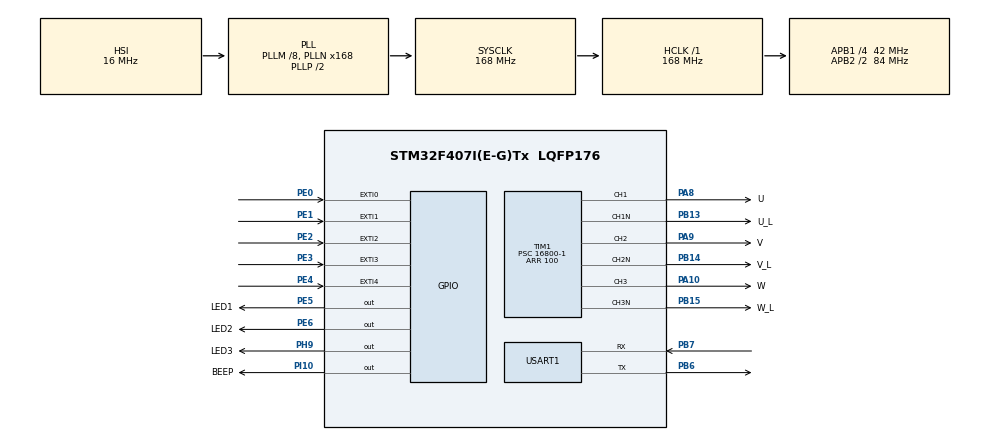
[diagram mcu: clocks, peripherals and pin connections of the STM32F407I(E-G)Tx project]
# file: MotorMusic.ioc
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Dma.Request0=USART1_RX
Dma.Request1=USART1_TX
Dma.USART1_RX.0.Direction=DMA_PERIPH_TO_MEMORY
Dma.USART1_RX.0.FIFOMode=DMA_FIFOMODE_DISABLE
Dma.USART1_RX.0.Instance=DMA2_Stream2
Dma.USART1_RX.0.MemDataAlignment=DMA_MDATAALIGN_BYTE
Dma.USART1_RX.0.MemInc=DMA_MINC_ENABLE
Dma.USART1_RX.0.Mode=DMA_CIRCULAR
Dma.USART1_RX.0.PeriphDataAlignment=DMA_PDATAALIGN_BYTE
Dma.USART1_RX.0.PeriphInc=DMA_PINC_DISABLE
Dma.USART1_RX.0.Priority=DMA_PRIORITY_LOW
Dma.USART1_TX.1.Direction=DMA_MEMORY_TO_PERIPH
Dma.USART1_TX.1.FIFOMode=DMA_FIFOMODE_DISABLE
Dma.USART1_TX.1.Instance=DMA2_Stream7
Dma.USART1_TX.1.MemDataAlignment=DMA_MDATAALIGN_BYTE
Dma.USART1_TX.1.MemInc=DMA_MINC_ENABLE
Dma.USART1_TX.1.Mode=DMA_NORMAL
Dma.USART1_TX.1.PeriphDataAlignment=DMA_PDATAALIGN_BYTE
Dma.USART1_TX.1.PeriphInc=DMA_PINC_DISABLE
Dma.USART1_TX.1.Priority=DMA_PRIORITY_LOW
FREERTOS.Tasks01=defaultTask,0,128,StartDefaultTask,Default,NULL,Dynamic,NULL,NULL;TxRx,3,256,TxRxTask,Default,NULL,Dynamic,NULL,NULL;Printf,-3,256,PrintfTask,Default,NULL,Dynamic,NULL,NULL
FREERTOS.configLIBRARY_MAX_SYSCALL_INTERRUPT_PRIORITY=1
FREERTOS.configUSE_COUNTING_SEMAPHORES=1
FREERTOS.configUSE_RECURSIVE_MUTEXES=1
FREERTOS.configUSE_TIMERS=0
Mcu.Family=STM32F4
Mcu.Name=STM32F407I(E-G)Tx
Mcu.Package=LQFP176
NVIC.DMA2_Stream2_IRQn=true\:1\:0\:true\:false\:true\:true\:false\:true\:true
NVIC.DMA2_Stream7_IRQn=true\:1\:0\:true\:false\:true\:true\:false\:true\:true
NVIC.EXTI0_IRQn=true\:15\:0\:true\:false\:true\:true\:true\:true\:true
NVIC.EXTI1_IRQn=true\:15\:0\:true\:false\:true\:true\:true\:true\:true
NVIC.EXTI2_IRQn=true\:15\:0\:true\:false\:true\:true\:true\:true\:true
NVIC.EXTI3_IRQn=true\:15\:0\:true\:false\:true\:true\:true\:true\:true
NVIC.EXTI4_IRQn=true\:15\:0\:true\:false\:true\:true\:true\:true\:true
NVIC.PriorityGroup=NVIC_PRIORITYGROUP_4
NVIC.TIM1_CC_IRQn=true\:1\:0\:true\:false\:true\:true\:true\:true\:true
NVIC.TIM8_TRG_COM_TIM14_IRQn=true\:15\:0\:false\:false\:true\:false\:false\:true\:true
NVIC.TimeBase=TIM8_TRG_COM_TIM14_IRQn
NVIC.TimeBaseIP=TIM14
NVIC.USART1_IRQn=true\:1\:0\:true\:false\:true\:true\:true\:true\:true
PA10.GPIO_Label=W
PA10.GPIO_PuPd=GPIO_PULLDOWN
PA10.GPIO_Speed=GPIO_SPEED_FREQ_VERY_HIGH
PA10.Signal=S_TIM1_CH3
PA13.Mode=Serial_Wire
PA13.Signal=SYS_JTMS-SWDIO
PA14.Mode=Serial_Wire
PA14.Signal=SYS_JTCK-SWCLK
PA8.GPIO_Label=U
PA8.GPIO_ModeDefaultPP=GPIO_MODE_AF_PP
PA8.GPIO_PuPd=GPIO_PULLDOWN
PA8.GPIO_Speed=GPIO_SPEED_FREQ_VERY_HIGH
PA8.Signal=S_TIM1_CH1
PA9.GPIO_Label=V
PA9.GPIO_ModeDefaultPP=GPIO_MODE_AF_PP
PA9.GPIO_PuPd=GPIO_PULLDOWN
PA9.GPIO_Speed=GPIO_SPEED_FREQ_VERY_HIGH
PA9.Signal=S_TIM1_CH2
PB13.GPIO_Label=U_L
PB13.GPIO_ModeDefaultPP=GPIO_MODE_AF_PP
PB13.GPIO_PuPd=GPIO_PULLDOWN
PB13.GPIO_Speed=GPIO_SPEED_FREQ_VERY_HIGH
PB13.Mode=PWM Generation1 CH1 CH1N
PB13.Signal=TIM1_CH1N
PB14.GPIO_Label=V_L
PB14.GPIO_ModeDefaultPP=GPIO_MODE_AF_PP
PB14.GPIO_PuPd=GPIO_PULLDOWN
PB14.GPIO_Speed=GPIO_SPEED_FREQ_VERY_HIGH
PB14.Mode=PWM Generation2 CH2 CH2N
PB14.Signal=TIM1_CH2N
PB15.GPIO_Label=W_L
PB15.GPIO_ModeDefaultPP=GPIO_MODE_AF_PP
PB15.GPIO_PuPd=GPIO_PULLDOWN
PB15.GPIO_Speed=GPIO_SPEED_FREQ_VERY_HIGH
PB15.Mode=PWM Generation3 CH3 CH3N
PB15.Signal=TIM1_CH3N
PB6.Mode=Asynchronous
PB6.Signal=USART1_TX
PB7.Mode=Asynchronous
PB7.Signal=USART1_RX
PE0.GPIO_ModeDefaultEXTI=GPIO_MODE_IT_FALLING
PE0.GPIO_PuPd=GPIO_PULLUP
PE0.Signal=GPXTI0
PE1.GPIO_ModeDefaultEXTI=GPIO_MODE_IT_FALLING
PE1.GPIO_PuPd=GPIO_PULLUP
PE1.Signal=GPXTI1
PE2.GPIO_ModeDefaultEXTI=GPIO_MODE_IT_FALLING
PE2.GPIO_PuPd=GPIO_PULLUP
PE2.Signal=GPXTI2
PE3.GPIO_ModeDefaultEXTI=GPIO_MODE_IT_FALLING
PE3.GPIO_PuPd=GPIO_PULLUP
PE3.Signal=GPXTI3
PE4.GPIO_ModeDefaultEXTI=GPIO_MODE_IT_FALLING
PE4.GPIO_PuPd=GPIO_PULLUP
PE4.Signal=GPXTI4
PE5.GPIO_Label=LED1
PE5.GPIO_PuPd=GPIO_PULLUP
PE5.Signal=GPIO_Output
PE6.GPIO_Label=LED2
PE6.GPIO_PuPd=GPIO_PULLUP
PE6.Signal=GPIO_Output
PH0-OSC_IN.Mode=HSE-External-Oscillator
PH0-OSC_IN.Signal=RCC_OSC_IN
PH1-OSC_OUT.Mode=HSE-External-Oscillator
PH1-OSC_OUT.Signal=RCC_OSC_OUT
PH9.GPIO_Label=LED3
PH9.GPIO_PuPd=GPIO_PULLUP
PH9.Signal=GPIO_Output
PI10.GPIO_Label=BEEP
PI10.GPIO_ModeDefaultOutputPP=GPIO_MODE_OUTPUT_PP
PI10.GPIO_PuPd=GPIO_PULLUP
PI10.Signal=GPIO_Output
ProjectManager.HeapSize=0x200
ProjectManager.StackSize=0x400
ProjectManager.TargetToolchain=MDK-ARM V5.32
RCC.48MHZClocksFreq_Value=84000000
RCC.AHBFreq_Value=168000000
RCC.APB1CLKDivider=RCC_HCLK_DIV4
RCC.APB1Freq_Value=42000000
RCC.APB1TimFreq_Value=84000000
RCC.APB2CLKDivider=RCC_HCLK_DIV2
RCC.APB2Freq_Value=84000000
RCC.APB2TimFreq_Value=168000000
RCC.CortexFreq_Value=168000000
RCC.HCLKFreq_Value=168000000
RCC.HSE_VALUE=8000000
RCC.HSI_VALUE=16000000
RCC.LSE_VALUE=32768
RCC.PLLM=8
RCC.PLLN=168
RCC.SYSCLKFreq_VALUE=168000000
RCC.SYSCLKSource=RCC_SYSCLKSOURCE_PLLCLK
RCC.VCOOutputFreq_Value=336000000
SH.S_TIM1_CH1.0=TIM1_CH1,PWM Generation1 CH1 CH1N
SH.S_TIM1_CH2.0=TIM1_CH2,PWM Generation2 CH2 CH2N
SH.S_TIM1_CH3.0=TIM1_CH3,PWM Generation3 CH3 CH3N
TIM1.AutoReloadPreload=TIM_AUTORELOAD_PRELOAD_DISABLE
TIM1.AutomaticOutput=TIM_AUTOMATICOUTPUT_DISABLE
TIM1.BreakState=TIM_BREAK_DISABLE
TIM1.Channel-PWM\ Generation1\ CH1\ CH1N=TIM_CHANNEL_1
TIM1.Channel-PWM\ Generation2\ CH2\ CH2N=TIM_CHANNEL_2
TIM1.Channel-PWM\ Generation3\ CH3\ CH3N=TIM_CHANNEL_3
TIM1.CounterMode=TIM_COUNTERMODE_CENTERALIGNED1
TIM1.DeadTime=0
TIM1.OffStateIDLEMode=TIM_OSSI_ENABLE
TIM1.OffStateRunMode=TIM_OSSR_ENABLE
TIM1.Period=100
TIM1.Prescaler=16800-1
USART1.VirtualMode=VM_ASYNC
VP_FREERTOS_VS_CMSIS_V1.Mode=CMSIS_V1
VP_SYS_VS_tim14.Mode=TIM14
VP_TIM1_VS_ClockSourceINT.Mode=Internal
board=custom

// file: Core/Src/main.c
/* USER CODE BEGIN Header */
/**
  ******************************************************************************
  * @file           : main.c
  * @brief          : Main program body
  ******************************************************************************
  * @attention
  *
  * Copyright (c) 2025 STMicroelectronics.
  * All rights reserved.
  *
  * This software is licensed under terms that can be found in the LICENSE file
  * in the root directory of this software component.
  * If no LICENSE file comes with this software, it is provided AS-IS.
  *
  ******************************************************************************
  */
/* USER CODE END Header */
#include "main.h"
#include "cmsis_os.h"
#include "dma.h"
#include "tim.h"
#include "usart.h"
#include "gpio.h"

void SystemClock_Config(void);
void MX_FREERTOS_Init(void);

int main(void)
{
  /* USER CODE BEGIN 1 */
  Ringbuff_init();
  /* USER CODE END 1 */

  /* MCU Configuration--------------------------------------------------------*/

  /* Reset of all peripherals, Initializes the Flash interface and the Systick. */
  HAL_Init();

  /* Configure the system clock */
  SystemClock_Config();

  /* Initialize all configured peripherals */
  MX_GPIO_Init();
  MX_DMA_Init();
  MX_USART1_UART_Init();
  MX_TIM1_Init();
  /* USER CODE BEGIN 2 */
  Function_init();
  /* USER CODE END 2 */

  /* Call init function for freertos objects (in freertos.c) */
  MX_FREERTOS_Init();

  /* Start scheduler */
  osKernelStart();

  /* We should never get here as control is now taken by the scheduler */
  /* Infinite loop */
  while (1)
  {

  }
}

void SystemClock_Config(void)
{
  RCC_OscInitTypeDef RCC_OscInitStruct = {0};
  RCC_ClkInitTypeDef RCC_ClkInitStruct = {0};

  /** Configure the main internal regulator output voltage
  */
  __HAL_RCC_PWR_CLK_ENABLE();
  __HAL_PWR_VOLTAGESCALING_CONFIG(PWR_REGULATOR_VOLTAGE_SCALE1);

  /** Initializes the RCC Oscillators according to the specified parameters
  * in the RCC_OscInitTypeDef structure.
  */
  RCC_OscInitStruct.OscillatorType = RCC_OSCILLATORTYPE_HSI;
  RCC_OscInitStruct.HSIState = RCC_HSI_ON;
  RCC_OscInitStruct.HSICalibrationValue = RCC_HSICALIBRATION_DEFAULT;
  RCC_OscInitStruct.PLL.PLLState = RCC_PLL_ON;
  RCC_OscInitStruct.PLL.PLLSource = RCC_PLLSOURCE_HSI;
  RCC_OscInitStruct.PLL.PLLM = 8;
  RCC_OscInitStruct.PLL.PLLN = 168;
  RCC_OscInitStruct.PLL.PLLP = RCC_PLLP_DIV2;
  RCC_OscInitStruct.PLL.PLLQ = 4;
  if (HAL_RCC_OscConfig(&RCC_OscInitStruct) != HAL_OK)
  {
    Error_Handler();
  }

  /** Initializes the CPU, AHB and APB buses clocks
  */
  RCC_ClkInitStruct.ClockType = RCC_CLOCKTYPE_HCLK|RCC_CLOCKTYPE_SYSCLK
                              |RCC_CLOCKTYPE_PCLK1|RCC_CLOCKTYPE_PCLK2;
  RCC_ClkInitStruct.SYSCLKSource = RCC_SYSCLKSOURCE_PLLCLK;
  RCC_ClkInitStruct.AHBCLKDivider = RCC_SYSCLK_DIV1;
  RCC_ClkInitStruct.APB1CLKDivider = RCC_HCLK_DIV4;
  RCC_ClkInitStruct.APB2CLKDivider = RCC_HCLK_DIV2;

  if (HAL_RCC_ClockConfig(&RCC_ClkInitStruct, FLASH_LATENCY_5) != HAL_OK)
  {
    Error_Handler();
  }
}

void HAL_TIM_PeriodElapsedCallback(TIM_HandleTypeDef *htim)
{
  if (htim->Instance == TIM14) {
    HAL_IncTick();
  }
}

void Error_Handler(void)
{
  __disable_irq();
  while (1)
  {
  }
}

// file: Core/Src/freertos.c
/* USER CODE BEGIN Header */
/**
  ******************************************************************************
  * File Name          : freertos.c
  * Description        : Code for freertos applications
  ******************************************************************************
  * @attention
  *
  * Copyright (c) 2025 STMicroelectronics.
  * All rights reserved.
  *
  * This software is licensed under terms that can be found in the LICENSE file
  * in the root directory of this software component.
  * If no LICENSE file comes with this software, it is provided AS-IS.
  *
  ******************************************************************************
  */
/* USER CODE END Header */

#include "FreeRTOS.h"
#include "task.h"
#include "main.h"
#include "tim.h"
#include "cmsis_os.h"

/* USER CODE BEGIN Includes */
#include "gpio.h"
/* USER CODE END Includes */

/* USER CODE BEGIN PTD */
    struct student{
        int num;
        char* name;
        char sex;
        int age;
        struct student * next;
    };
    //结构体数据
    struct student stu1={1,"张三",'N',18,NULL};
    struct student stu2={2,"李四",'V',19,NULL};
    struct student stu3={3,"王五",'N',20,NULL};
    struct student stu4={4,"赵六",'V',21,NULL};
	volatile struct student * p= NULL; //定义一个指向第一个元素的指针

extern  volatile uint16_t KEY_VALUE;
/* USER CODE END PTD */

/* USER CODE BEGIN Variables */
osThreadId task1Handle;
/* USER CODE END Variables */
osThreadId defaultTaskHandle;
osThreadId TxRxHandle;
osThreadId PrintfHandle;

/* USER CODE BEGIN FunctionPrototypes */
void Task1(void const * argument);
/* USER CODE END FunctionPrototypes */

void StartDefaultTask(void const * argument);
void TxRxTask(void const * argument);
void PrintfTask(void const * argument);

void MX_FREERTOS_Init(void); /* (MISRA C 2004 rule 8.1) */

/* GetIdleTaskMemory prototype (linked to static allocation support) */
void vApplicationGetIdleTaskMemory( StaticTask_t **ppxIdleTaskTCBBuffer, StackType_t **ppxIdleTaskStackBuffer, uint32_t *pulIdleTaskStackSize );

/* USER CODE BEGIN GET_IDLE_TASK_MEMORY */
static StaticTask_t xIdleTaskTCBBuffer;
static StackType_t xIdleStack[configMINIMAL_STACK_SIZE];

void vApplicationGetIdleTaskMemory( StaticTask_t **ppxIdleTaskTCBBuffer, StackType_t **ppxIdleTaskStackBuffer, uint32_t *pulIdleTaskStackSize )
{
  *ppxIdleTaskTCBBuffer = &xIdleTaskTCBBuffer;
  *ppxIdleTaskStackBuffer = &xIdleStack[0];
  *pulIdleTaskStackSize = configMINIMAL_STACK_SIZE;
  /* place for user code */
}
/* USER CODE END GET_IDLE_TASK_MEMORY */

void MX_FREERTOS_Init(void) {

  /* Create the thread(s) */
  /* definition and creation of defaultTask */
  osThreadDef(defaultTask, StartDefaultTask, osPriorityNormal, 0, 128);
  defaultTaskHandle = osThreadCreate(osThread(defaultTask), NULL);

  /* definition and creation of TxRx */
  osThreadDef(TxRx, TxRxTask, osPriorityRealtime, 0, 256);
  TxRxHandle = osThreadCreate(osThread(TxRx), NULL);

  /* definition and creation of Printf */
  osThreadDef(Printf, PrintfTask, osPriorityIdle, 0, 256);
  PrintfHandle = osThreadCreate(osThread(Printf), NULL);

  /* USER CODE BEGIN RTOS_THREADS */
  /* add threads, ... */
    /* definition and creation of Printf */
  osThreadDef(task1, Task1, osPriorityIdle, 0, 256);
  task1Handle = osThreadCreate(osThread(task1), NULL);
  /* USER CODE END RTOS_THREADS */

}

void StartDefaultTask(void const * argument)
{
  /* USER CODE BEGIN StartDefaultTask */
  /* Infinite loop */
  for(;;)
  {
	//把数据串起来
    stu1.next=&stu2;
    stu2.next=&stu3;
    stu3.next=&stu4;
	p=&stu1; //定义一个指向第一个元素的指针
    osDelay(1000);
  }
  /* USER CODE END StartDefaultTask */
}

void TxRxTask(void const * argument)
{
  /* USER CODE BEGIN TxRxTask */
  uint8_t databuff[PC_TxRx_SIZE] = {0};
  static uint8_t datalength = 0;
  /* Infinite loop */
  for(;;)
  {
	if(Ringbuf_pc_rx.trans_len > 0)
	{
	  HAL_GPIO_TogglePin(LED1_GPIO_Port,LED1_Pin);
	  datalength = Ringbuf_pc_rx.trans_len;
	 //读取数据
      if(Ringbuff_Read_multi_data(&Ringbuf_pc_rx, databuff, Ringbuf_pc_rx.trans_len) != 0)
      {
      }

      // 发送数据
      if(McuSendData(databuff, datalength, &huart1) != 0)
      {
      }
	}
    osDelay(1);
  }
  /* USER CODE END TxRxTask */
}

void PrintfTask(void const * argument)
{
  /* USER CODE BEGIN PrintfTask */
  /* Infinite loop */
  for(;;)
  {
    if(KEY_VALUE == KEY1_GPIO_PIN)
	{
	  vTaskSuspend(TxRxHandle);
	  KEY_VALUE = 0;
	}
	else if(KEY_VALUE == KEY2_GPIO_PIN)
	{
	  vTaskResume(TxRxHandle);
	  KEY_VALUE = 0;
	}
	else;

	BLDCMotor_PhaseCtrl();

    osDelay(5);
  }
  /* USER CODE END PrintfTask */
}

/* USER CODE BEGIN Application */

/**
* @brief Function implementing the Printf thread.
* @param argument: Not used
* @retval None
*/

void Task1(void const * argument)
{
  /* USER CODE BEGIN PrintfTask */
  /* Infinite loop */
  for(;;)
  {
	printf("编号\t姓名\t性别\t年龄\n");
    //打印结果可以通过判断next是否为空来结束循环
	while(p!=NULL){
		printf("%d\t%s\t%s\t%d\n",p->num,p->name,p->sex=='N'?"男":"女",p->age);
		p=p->next;//把指针移到下一个元素
	}
	vTaskDelete(NULL);
    osDelay(10);
  }
}

/* USER CODE END Application */
